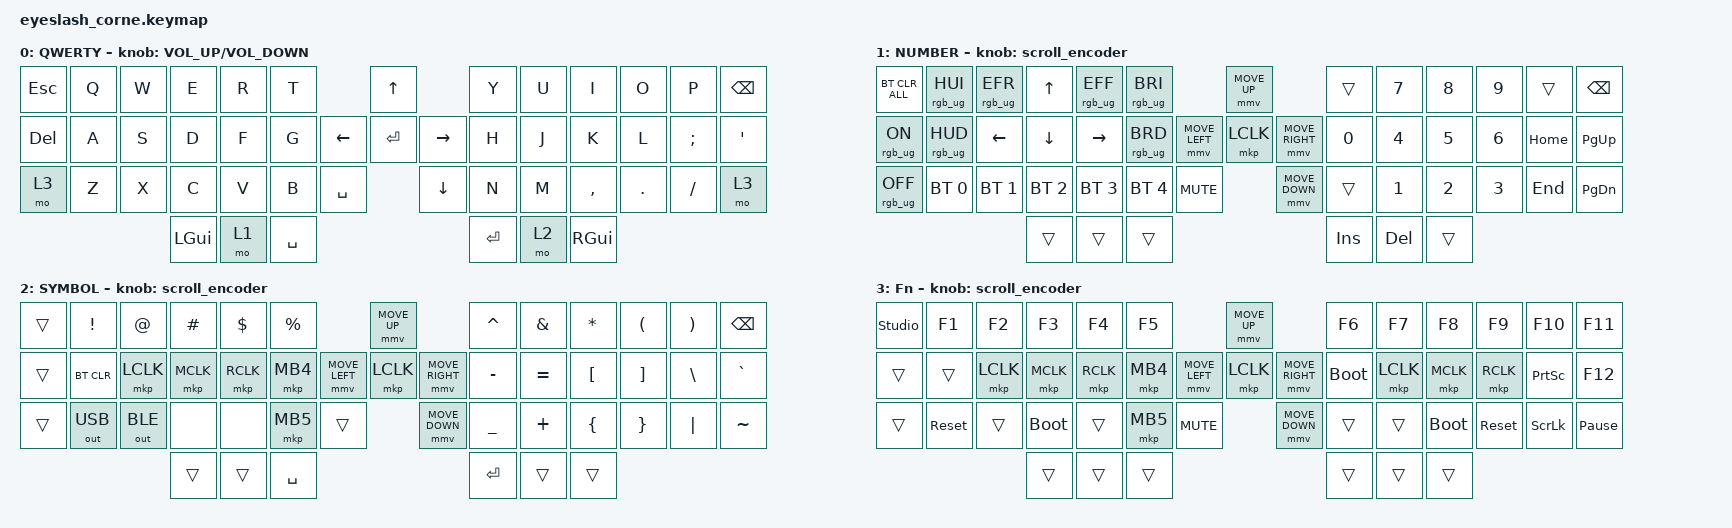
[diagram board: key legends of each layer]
#define ZMK_POINTING_DEFAULT_MOVE_VAL 1200  // 600
#define ZMK_POINTING_DEFAULT_SCRL_VAL 25   // 10

#include <input/processors.dtsi>
#include <zephyr/dt-bindings/input/input-event-codes.h>
#include <behaviors.dtsi>
#include <dt-bindings/zmk/bt.h>
#include <dt-bindings/zmk/keys.h>
#include <dt-bindings/zmk/outputs.h>
#include <dt-bindings/zmk/pointing.h>
#include <dt-bindings/zmk/rgb.h>

&mmv_input_listener { input-processors = <&zip_xy_scaler 2 1>; };

&msc_input_listener { input-processors = <&zip_scroll_scaler 2 1>; };

&msc {
    acceleration-exponent = <1>;      // 0
    time-to-max-speed-ms = <100>;       // 300
    delay-ms = <0>;                   // 0
};

&mmv {
    time-to-max-speed-ms = <500>;
    acceleration-exponent = <1>;
    trigger-period-ms = <16>;
};

/ {
    behaviors {
        td0: td0 {
            compatible = "zmk,behavior-tap-dance";
            display-name = "Shift/Caps Lock Tap Dance";
            #binding-cells = <0>;
            bindings = <&kp LEFT_SHIFT>, <&kp CAPS>;
        };
    };

    rgb_encoder: rgb_encoder {
        compatible = "zmk,behavior-sensor-rotate";
        #sensor-binding-cells = <0>;
        bindings = <&rgb_ug RGB_BRI>, <&rgb_ug RGB_BRD>;
    };

    scroll_encoder: scroll_encoder {
        compatible = "zmk,behavior-sensor-rotate";
        #sensor-binding-cells = <0>;
        bindings = <&msc SCRL_DOWN>, <&msc SCRL_UP>;

        tap-ms = <100>;
    };

    combos {
        compatible = "zmk,combos";

        Combo_LSHIFT {
            bindings = <&kp LEFT_SHIFT>;
            key-positions = <17 43>;
        };

        Combo_RSHIFT {
            bindings = <&kp RIGHT_SHIFT>;
            key-positions = <23 46>;
        };

        Combo_LCTRL {
            bindings = <&kp LCTRL>;
            key-positions = <16 43>;
        };

        Combo_RCTRL {
            bindings = <&kp RCTRL>;
            key-positions = <24 46>;
        };

        Combo_LALT {
            bindings = <&kp LALT>;
            key-positions = <15 43>;
        };

        Combo_RALT {
            bindings = <&kp RALT>;
            key-positions = <25 46>;
        };

        Combo_LCAPS {
            bindings = <&kp CAPSLOCK>;
            key-positions = <17 43 16>;
        };

        Combo_RCAPS {
            bindings = <&kp CAPSLOCK>;
            key-positions = <23 24 46>;
        };

        Combo_RTAB {
            bindings = <&kp TAB>;
            key-positions = <23 24 25>;
        };

        Combo_LTAB {
            bindings = <&kp TAB>;
            key-positions = <15 16 17>;
        };
    };

    keymap {
        compatible = "zmk,keymap";

        default_layer {
            display-name = "QWERTY";
            bindings = <
&kp ESCAPE  &kp Q  &kp W  &kp E     &kp R  &kp T                             &kp UP                &kp Y      &kp U  &kp I          &kp O    &kp P     &kp BSPC
&kp DEL     &kp A  &kp S  &kp D     &kp F  &kp G                   &kp LEFT  &kp ENTER  &kp RIGHT  &kp H      &kp J  &kp K          &kp L    &kp SEMI  &kp SQT
&mo 3       &kp Z  &kp X  &kp C     &kp V  &kp B      &kp SPACE              &kp DOWN              &kp N      &kp M  &kp COMMA      &kp DOT  &kp FSLH  &mo 3
                          &kp LGUI  &mo 1  &kp SPACE                                               &kp ENTER  &mo 2  &kp RIGHT_GUI
            >;

            sensor-bindings = <&inc_dec_kp C_VOLUME_UP C_VOLUME_DOWN>;
        };

        lower_layer {
            display-name = "NUMBER";
            bindings = <
&bt BT_CLR_ALL   &rgb_ug RGB_HUI  &rgb_ug RGB_EFR  &kp UP_ARROW  &rgb_ug RGB_EFF  &rgb_ug RGB_BRI                                &mmv MOVE_UP                     &trans   &kp N7        &kp N8        &kp N9        &trans    &kp BSPC
&rgb_ug RGB_ON   &rgb_ug RGB_HUD  &kp LEFT_ARROW   &kp DOWN      &kp RIGHT        &rgb_ug RGB_BRD                &mmv MOVE_LEFT  &mkp LCLK       &mmv MOVE_RIGHT  &kp N0   &kp NUMBER_4  &kp N5        &kp NUMBER_6  &kp HOME  &kp PG_UP
&rgb_ug RGB_OFF  &bt BT_SEL 0     &bt BT_SEL 1     &bt BT_SEL 2  &bt BT_SEL 3     &bt BT_SEL 4     &kp C_MUTE                    &mmv MOVE_DOWN                   &trans   &kp NUMBER_1  &kp NUMBER_2  &kp NUMBER_3  &kp END   &kp PG_DN
                                                   &trans        &trans           &trans                                                                          &kp INS  &kp DEL       &trans
            >;

            sensor-bindings = <&scroll_encoder>;
        };

        raise_layer {
            display-name = "SYMBOL";
            bindings = <
&trans  &kp EXCL      &kp AT        &kp HASH   &kp DLLR   &kp PRCNT                            &mmv MOVE_UP                     &kp CARET  &kp AMPS   &kp ASTRK  &kp LPAR  &kp RPAR  &kp BSPC
&trans  &bt BT_CLR    &mkp LCLK     &mkp MCLK  &mkp RCLK  &mkp MB4             &mmv MOVE_LEFT  &mkp LCLK       &mmv MOVE_RIGHT  &kp MINUS  &kp EQUAL  &kp LBKT   &kp RBKT  &kp BSLH  &kp GRAVE
&trans  &out OUT_USB  &out OUT_BLE  &none      &none      &mkp MB5   &trans                    &mmv MOVE_DOWN                   &kp UNDER  &kp PLUS   &kp LBRC   &kp RBRC  &kp PIPE  &kp TILDE
                                    &trans     &trans     &kp SPACE                                                             &kp RET    &trans     &trans
            >;

            sensor-bindings = <&scroll_encoder>;
        };

        FN {
            display-name = "Fn";
            bindings = <
&studio_unlock  &kp F1      &kp F2     &kp F3       &kp F4     &kp F5                                  &mmv MOVE_UP                     &kp F6       &kp F7     &kp F8       &kp F9      &kp F10          &kp F11
&trans          &trans      &mkp LCLK  &mkp MCLK    &mkp RCLK  &mkp MB4                &mmv MOVE_LEFT  &mkp LCLK       &mmv MOVE_RIGHT  &bootloader  &mkp LCLK  &mkp MCLK    &mkp RCLK   &kp PRINTSCREEN  &kp F12
&trans          &sys_reset  &trans     &bootloader  &trans     &mkp MB5  &kp C_MUTE                    &mmv MOVE_DOWN                   &trans       &trans     &bootloader  &sys_reset  &kp SCROLLLOCK   &kp PAUSE_BREAK
                                       &trans       &trans     &trans                                                                   &trans       &trans     &trans
            >;

            sensor-bindings = <&scroll_encoder>;
        };
    };
};
